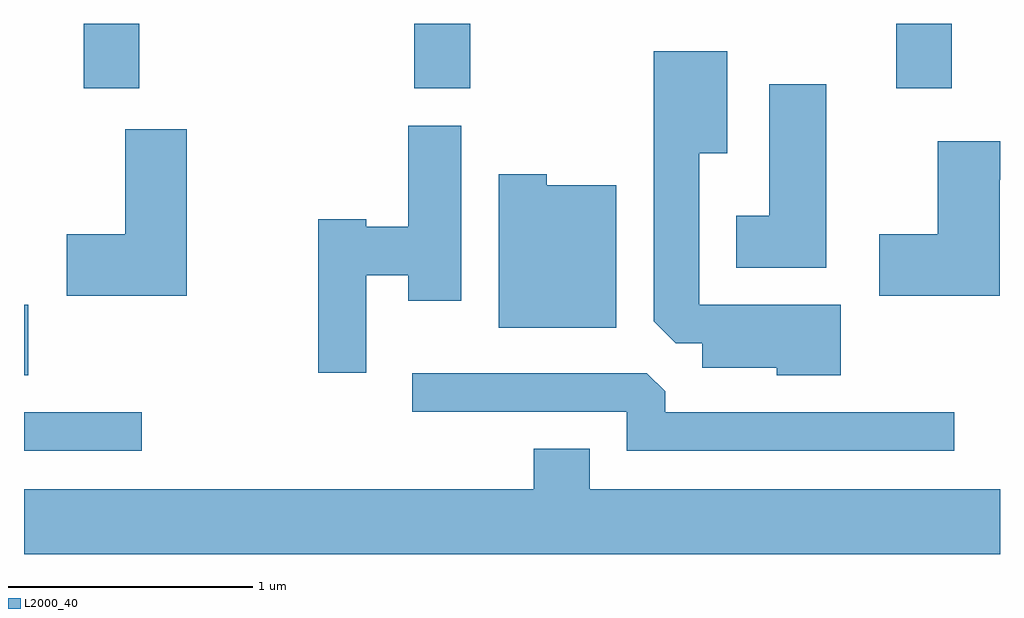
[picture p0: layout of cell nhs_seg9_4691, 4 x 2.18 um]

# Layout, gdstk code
import gdstk
lib = gdstk.Library(unit=1e-6, precision=1e-09)
def R(c, l, rs):  # rectangles x0, y0, x1, y1
    for r in rs: c.add(gdstk.rectangle(r[:2], r[2:], *l))
def P(c, l, *ps):  # polygons
    for p in ps: c.add(gdstk.Polygon(p, *l))
L2000_40 = (2000, 40)

nhs_seg9_4691 = lib.new_cell('nhs_seg9_4691')
R(nhs_seg9_4691, L2000_40, [(323.611,1996.681,324.093,1996.839), (323.611,1996.991,323.629,1997.279), (323.856,1998.166,324.084,1998.432), (325.211,1998.166,325.439,1998.432), (327.186,1998.166,327.414,1998.432)])
P(nhs_seg9_4691, L2000_40, [(326.959,1997.279),(326.379,1997.279),(326.379,1997.901),(326.494,1997.901),(326.494,1998.319),(326.191,1998.319),(326.191,1997.212),(326.282,1997.121),(326.391,1997.121),(326.391,1997.021),(326.696,1997.021),(326.696,1996.991),(326.959,1996.991)],
  [(326.899,1998.184),(326.666,1998.184),(326.666,1997.644),(326.531,1997.644),(326.531,1997.431),(326.899,1997.431)],
  [(325.014,1997.401),(325.186,1997.401),(325.186,1997.296),(325.404,1997.296),(325.404,1998.014),(325.186,1998.014),(325.186,1997.599),(325.014,1997.599),(325.014,1997.629),(324.816,1997.629),(324.816,1997.001),(325.014,1997.001)],
  [(324.279,1997.999),(324.026,1997.999),(324.026,1997.569),(323.786,1997.569),(323.786,1997.316),(324.279,1997.316)],
  [(327.609,1997.791),(327.611,1997.791),(327.611,1997.949),(327.356,1997.949),(327.356,1997.569),(327.116,1997.569),(327.116,1997.316),(327.609,1997.316)],
  [(326.039,1997.769),(325.754,1997.769),(325.754,1997.814),(325.556,1997.814),(325.556,1997.186),(326.039,1997.186)],
  [(327.423,1996.839),(326.239,1996.839),(326.239,1996.924),(326.164,1996.999),(325.203,1996.999),(325.203,1996.841),(326.081,1996.841),(326.081,1996.681),(327.423,1996.681)],
  [(327.611,1996.524),(325.929,1996.524),(325.929,1996.689),(325.701,1996.689),(325.701,1996.524),(323.611,1996.524),(323.611,1996.256),(327.611,1996.256)])

lib.write_gds('nhs_seg9_4691.gds')
